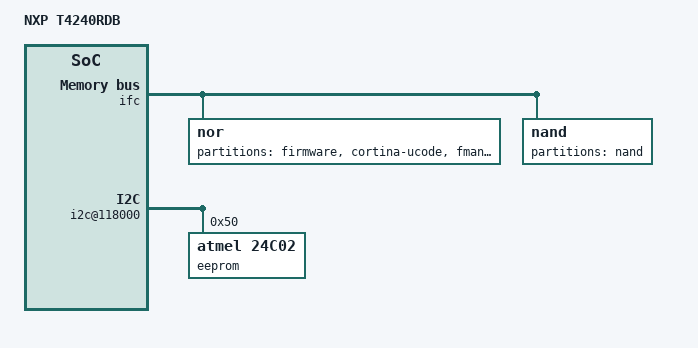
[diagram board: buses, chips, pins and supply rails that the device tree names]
/include/ "t4240rdb.dts"

/ {
	model = "NXP T4240RDB";
	aliases {
        ethernet0 = "/soc@ffe000000/fman@400000/ethernet@e0000";
        ethernet1 = "/soc@ffe000000/fman@400000/ethernet@e2000";
        ethernet2 = "/soc@ffe000000/fman@400000/ethernet@e4000";
        ethernet3 = "/soc@ffe000000/fman@400000/ethernet@e6000";
        ethernet4 = "/soc@ffe000000/fman@500000/ethernet@f0000";
        ethernet5 = "/soc@ffe000000/fman@500000/ethernet@f2000";
        ethernet6 = "/soc@ffe000000/fman@500000/ethernet@e0000";
        ethernet7 = "/soc@ffe000000/fman@500000/ethernet@e2000";
        ethernet8 = "/soc@ffe000000/fman@500000/ethernet@e4000";
        ethernet9 = "/soc@ffe000000/fman@500000/ethernet@e6000";
        ethernet10 = "/soc@ffe000000/fman@400000/ethernet@f0000";
        ethernet11 = "/soc@ffe000000/fman@400000/ethernet@f2000";
	};
};

&ifc {
    nor@0,0 {
        partitions {
            compatible = "fixed-partitions";
            #address-cells = <1>;
            #size-cells = <1>;

            partition@0 {
                reg = <0x0 0x7e00000>;
                label = "firmware";
            };
            partition@7e00000 {
                reg = <0x7e00000 0x100000>;
                label = "cortina-ucode";
            };
            partition@7f00000 {
                reg = <0x7f00000 0x20000>;
                label = "fman";
            };
            partition@7f20000 {
                reg = <0x7f20000 0x20000>;
                label = "u-boot-env";
            };
            partition@7f40000 {
                reg = <0x7f40000 0xc0000>;
                label = "u-boot";
            };
        };
    };

    nand@2,0 {
        partitions {
            compatible = "fixed-partitions";
            #address-cells = <1>;
            #size-cells = <1>;

            partition@0 {
                reg = <0x0 0x80000000>;
                label = "nand";
            };
        };
    };
};

&pci1 {
    status = "disabled";
};

&pci3 {
    status = "disabled";
};

&soc {
    i2c@118000 {
        eeprom@50 {
            compatible = "atmel,24c02";
            reg = <0x50>;
        };
    };

    sata@221000 {
        status = "disabled";
    };
};
